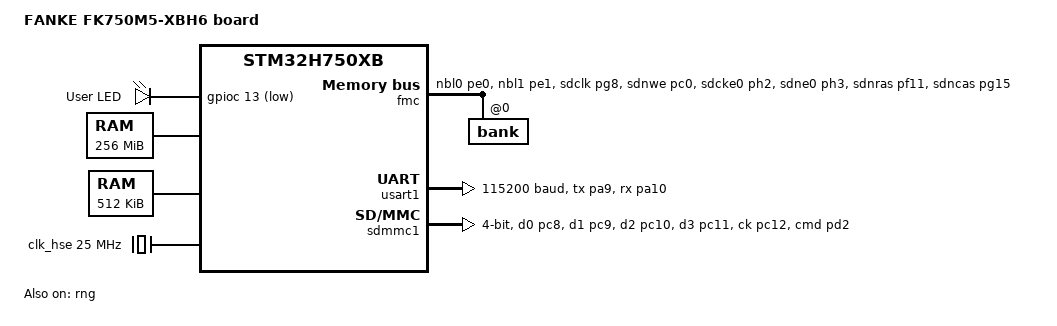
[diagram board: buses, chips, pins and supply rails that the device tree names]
/*
 * Copyright (c) 2025 zack jiang, Honbo He <hehongbo918@gmail.com>
 *
 * SPDX-License-Identifier: Apache-2.0
 */

/dts-v1/;
#include <st/h7/stm32h750Xb.dtsi>
#include <st/h7/stm32h750xbhx-pinctrl.dtsi>

/ {
	model = "FANKE FK750M5-XBH6 board";
	compatible = "fanke,fk750m5-xbh6";

	chosen {
		zephyr,console = &usart1;
		zephyr,shell-uart = &usart1;
		zephyr,sram = &sram0;
		zephyr,flash = &flash0;
	};

	leds {
		compatible = "gpio-leds";

		user_led: led_0 {
			gpios = <&gpioc 13 GPIO_ACTIVE_LOW>;
			label = "User LED";
		};
	};

	aliases {
		led0 = &user_led;
		sdhc0 = &sdmmc1;
	};

	ext_memory: memory@90000000 {
		compatible = "zephyr,memory-region";
		reg = <0x90000000 DT_SIZE_M(256)>;
		zephyr,memory-region = "EXTMEM";
		/* The ATTR_MPU_EXTMEM attribut causing a MPU FAULT */
		zephyr,memory-attr = <( DT_MEM_ARM(ATTR_MPU_IO) )>;
	};

	sdram1: sdram@c0000000 {
		compatible = "zephyr,memory-region";
		reg = <0xc0000000 DT_SIZE_M(32)>;
		zephyr,memory-region = "SDRAM1";
		zephyr,memory-attr = <( DT_MEM_ARM(ATTR_MPU_RAM) )>;
	};
	sram0: memory@24000000 {
		compatible = "zephyr,memory-region", "mmio-sram";
		reg = <0x24000000 0x80000>;
		zephyr,memory-region = "SRAM0";
		zephyr,memory-attr = <( DT_MEM_ARM(ATTR_MPU_RAM_NOCACHE) )>;
	};
};

&clk_hsi {
	status = "okay";
};

&clk_hsi48 {
	status = "okay";
};

&clk_hse {
	clock-frequency = <DT_FREQ_M(25)>;
	status = "okay";
};

&pll {
	div-m = <5>;
	mul-n = <192>;
	div-p = <2>;
	div-q = <4>;
	div-r = <4>;
	clocks = <&clk_hse>;
	status = "okay";
};

&pll2 {
	div-m = <5>;
	mul-n = <192>;
	div-p = <2>;
	div-q = <4>;
	div-r = <8>;
	clocks = <&clk_hse>;
	status = "okay";
};


&pll3 {
	div-m = <5>;
	mul-n = <192>;
	div-p = <2>;
	div-q = <20>;
	div-r = <99>;
	clocks = <&clk_hse>;
	status = "okay";
};

&rcc {
	clocks = <&pll>;
	clock-frequency = <DT_FREQ_M(480)>;
	d1cpre = <1>;
	hpre = <2>;
	d1ppre = <2>;
	d2ppre1 = <2>;
	d2ppre2 = <2>;
	d3ppre = <2>;
};

&fmc {
	pinctrl-0 = <&fmc_nbl0_pe0 &fmc_nbl1_pe1
	&fmc_sdclk_pg8 &fmc_sdnwe_pc0 &fmc_sdcke0_ph2
	&fmc_sdne0_ph3 &fmc_sdnras_pf11 &fmc_sdncas_pg15
	&fmc_a0_pf0 &fmc_a1_pf1 &fmc_a2_pf2 &fmc_a3_pf3 &fmc_a4_pf4
	&fmc_a5_pf5 &fmc_a6_pf12 &fmc_a7_pf13 &fmc_a8_pf14
	&fmc_a9_pf15 &fmc_a10_pg0 &fmc_a11_pg1
	&fmc_a12_pg2  &fmc_d0_pd14 &fmc_d1_pd15
	&fmc_d2_pd0 &fmc_d3_pd1 &fmc_d4_pe7 &fmc_d5_pe8 &fmc_d6_pe9
	&fmc_d7_pe10 &fmc_d8_pe11 &fmc_d9_pe12 &fmc_d10_pe13
	&fmc_d11_pe14 &fmc_d12_pe15 &fmc_d13_pd8 &fmc_d14_pd9
	&fmc_d15_pd10>;
	pinctrl-names = "default";
	status = "okay";

	sdram {
		status = "okay";
		power-up-delay = <100>;
		num-auto-refresh = <8>;
		mode-register = <0x230>;
		refresh-rate = <0x603>;

		bank@0 {
			reg = <0>;
			st,sdram-control = <STM32_FMC_SDRAM_NC_9
			STM32_FMC_SDRAM_NR_13
			STM32_FMC_SDRAM_MWID_16
			STM32_FMC_SDRAM_NB_4
			STM32_FMC_SDRAM_CAS_3
			STM32_FMC_SDRAM_SDCLK_PERIOD_2
			STM32_FMC_SDRAM_RBURST_ENABLE
			STM32_FMC_SDRAM_RPIPE_1>;
			st,sdram-timing = <2 7 4 7 3 2 2>;
		};
	};
};

&usart1 {
	pinctrl-0 = <&usart1_tx_pa9 &usart1_rx_pa10>;
	pinctrl-names = "default";
	current-speed = <115200>;
	status = "okay";
};

&backup_sram {
	status = "okay";
};

&rng {
	status = "okay";
};

// sdhc: &sdmmc1 {
// 	compatible = "st,stm32-sdio";
// 	pinctrl-0 = <&sdmmc1_d0_pc8 &sdmmc1_d1_pc9
// 			&sdmmc1_d2_pc10 &sdmmc1_d3_pc11
// 			&sdmmc1_ck_pc12 &sdmmc1_cmd_pd2>;
// 	pinctrl-names = "default";
// 	// sdhi-on-gpios = <&gpioj 1 GPIO_ACTIVE_HIGH>;
// 	interrupts = <49 0>;
// 	interrupt-names = "event";
// 	clocks = <&rcc STM32_CLOCK(AHB3, 16U)>,
// 				 <&rcc STM32_SRC_PLL2_R SDMMC_SEL(1)>;
// 	min-bus-freq = <DT_FREQ_K(400)>;
// 	max-bus-freq = <DT_FREQ_M(240)>;
// 	clk-div = <46>;
// 	// cd-gpios = <&gpiod 4 (GPIO_ACTIVE_HIGH | GPIO_PULL_UP)>;
// 	// hw-flow-control;
// 	hw-flow-control;
// 	bus-width = <4>;
// 	status = "okay";
// 	    airoc-wifi {
//           status = "okay";
//           compatible = "infineon,airoc-wifi";

//           /* Wi-Fi control gpios */
//           wifi-reg-on-gpios    = <&gpioa 1 GPIO_ACTIVE_HIGH>;
//           wifi-host-wake-gpios = <&gpioa 0 GPIO_ACTIVE_HIGH>;
//     };
// 	// sdmmc {
// 	// 	compatible = "zephyr,sdmmc-disk";
// 	// 	disk-name = "SD";
// 	// 	status = "okay";
// 	// };

// };

&sdmmc1 {
	pinctrl-0 = <&sdmmc1_d0_pc8 &sdmmc1_d1_pc9
		     &sdmmc1_d2_pc10 &sdmmc1_d3_pc11
		     &sdmmc1_ck_pc12 &sdmmc1_cmd_pd2>;
	pinctrl-names = "default";
	clk-div = <1>;
	bus-width = <4>;
	idma;
	// cd-gpios = <&gpiod 4 (GPIO_ACTIVE_HIGH | GPIO_PULL_UP)>;
	disk-name = "SD";
	status = "okay";
};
